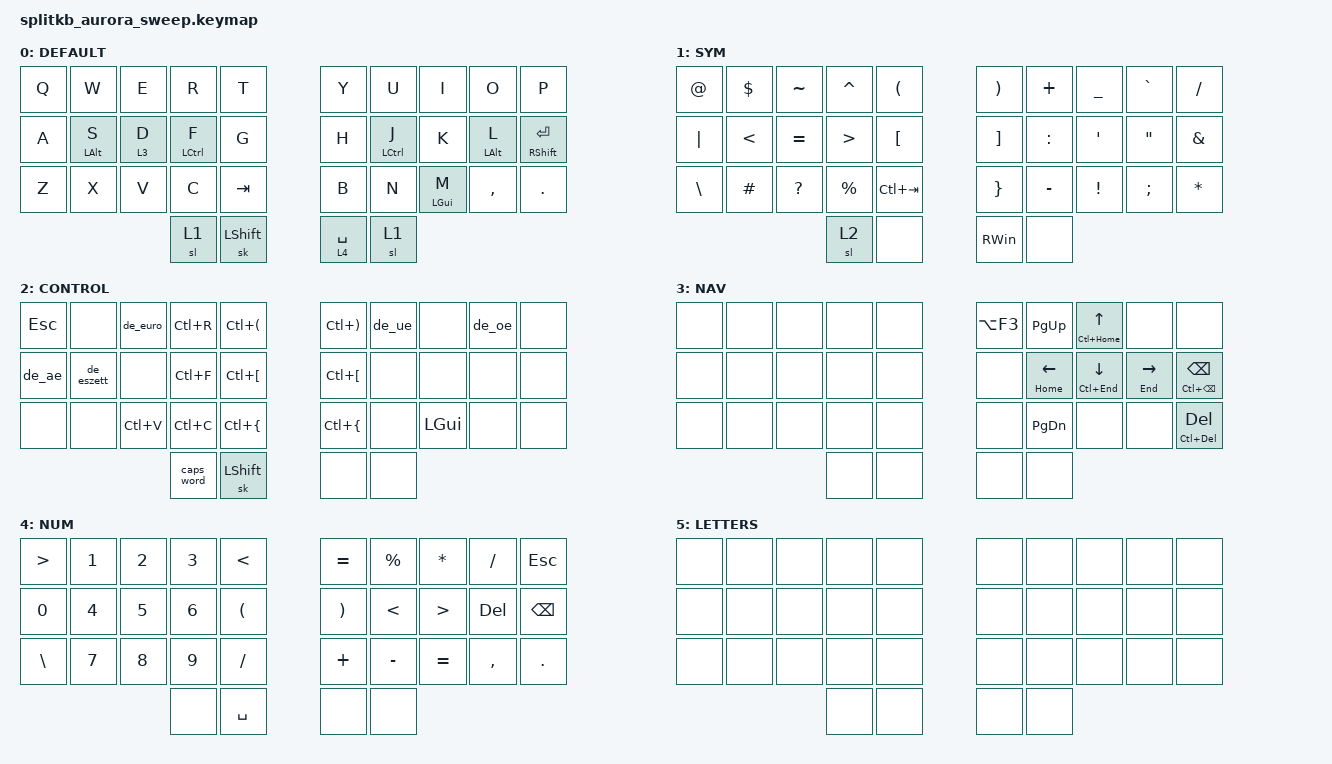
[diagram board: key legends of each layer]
/*
 * Copyright (c) 2022 The ZMK Contributors
 *
 * SPDX-License-Identifier: MIT
 */

#include <behaviors.dtsi>
#include <dt-bindings/zmk/keys.h>

#define HOST_OS 1
#include "helper.h"
#include "german.dtsi"

#define ___ &none

&sk {                           // sticky-key config
    release-after-ms = <450>;   // release after 0.6s
    quick-release;              // no double capitalization when rolling keys
};

&sl {                           // sticky-layer config
    ignore-modifiers;           // allow chording sticky mods & layers
};

&lt {  // layer-tap config
    flavor = "balanced";
    tapping-term-ms = <200>;
    quick-tap-ms = <150>;
};

&mt {
    flavor = "tap-preferred";
    tapping-term-ms = <220>;
    quick-tap-ms = <150>;
};

/*                              34 KEY MATRIX / LAYOUT MAPPING

  ╭────────────────────┬────────────────────╮ ╭─────────────────────┬─────────────────────╮
  │  0   1   2   3   4 │  5   6   7   8   9 │ │ LT4 LT3 LT2 LT1 LT0 │ RT0 RT1 RT2 RT3 RT4 │
  │ 10  11  12  13  14 │ 15  16  17  18  19 │ │ LM4 LM3 LM2 LM1 LM0 │ RM0 RM1 RM2 RM3 RM4 │
  │ 20  21  22  23  24 │ 25  26  27  28  29 │ │ LB4 LB3 LB2 LB1 LB0 │ RB0 RB1 RB2 RB3 RB4 │
  ╰───────────╮ 30  31 │ 32  33 ╭───────────╯ ╰───────────╮ LH1 LH0 │ RH0 RH1 ╭───────────╯
              ╰────────┴────────╯                         ╰─────────┴─────────╯             */

/ {
    combos {
        compatible = "zmk,combos";

        combo_esc {
            timeout-ms = <75>;
            key-positions = <0 1>;
            bindings = <&kp ESC>;
        };

        combo_LBKT {
            timeout-ms = <50>;
            key-positions = <2 3>;
            bindings = <&kp LBKT>;
        };
        combo_LPAR {
            timeout-ms = <50>;
            key-positions = <12 13>;
            bindings = <&kp LPAR>;
        };
        combo_LBRC {
            timeout-ms = <50>;
            key-positions = <22 23>;
            bindings = <&kp LBRC>;
        };
        combo_RBKT {
            timeout-ms = <50>;
            key-positions = <7 6>;
            bindings = <&kp RBKT>;
        };
        combo_RPAR {
            timeout-ms = <50>;
            key-positions = <17 16>;
            bindings = <&kp RPAR>;
        };
        combo_RBRC {
            timeout-ms = <50>;
            key-positions = <27 26>;
            bindings = <&kp RBRC>;
        };

    };

    behaviors {

    tda: tap_dance_a {
            compatible = "zmk,behavior-tap-dance";
            #binding-cells = <0>;
            tapping-term-ms = <50>;
            bindings = <&kp A>, <&de_ae>;
        };


};

#define DEFAULT 0
#define SYM 1
#define CONTROL 2
#define NAV 3
#define NUM 4
#define LETTERS 5

#define NAV_LEFT  &mt HOME LEFT        // tap: left  | long-tap: beginning of line
#define NAV_RIGHT &mt END RIGHT        // tap: right | long-tap: end of line
#define NAV_UP    &mt LC(HOME) UP      // tap: up    | long-tap: beginning of document
#define NAV_DOWN  &mt LC(END)  DOWN    // tap: down  | long-tap: end of document
#define NAV_BSPC  &mt LC(BSPC) BSPC    // tap: bspc  | long-tap: delete word backward
#define NAV_DEL   &mt LC(DEL)  DEL     // tap: del   | long-tap: delete word forward

keymap {
   compatible = "zmk,keymap";

    DEFAULT { bindings = <
        //╭─────────────┬─────────────┬─────────────┬─────────────┬─────────────╮ ╭─────────────┬─────────────┬─────────────┬─────────────┬─────────────╮
            &kp Q         &kp W         &kp E         &kp R         &kp T           &kp Y         &kp U         &kp I         &kp O         &kp P
        //├─────────────┼─────────────┼─────────────┼─────────────┼─────────────┤ ├─────────────┼─────────────┼─────────────┼─────────────┼─────────────┤
            &kp A         &mt LALT S    &lt 3 D       &mt LCTRL F   &kp G           &kp H         &mt LCTRL J   &kp K         &mt LALT L    &mt RSHFT ENTER
        //├─────────────┼─────────────┼─────────────┼─────────────┼─────────────┤ ├─────────────┼─────────────┼─────────────┼─────────────┼─────────────┤
            &kp Z         &kp X         &kp V         &kp C         &kp TAB         &kp B         &kp N         &mt LGUI M    &kp COMMA     &kp DOT
        //╰─────────────┼─────────────┴─────────────┼─────────────┼─────────────┤ ├─────────────┼─────────────┼─────────────┴───────────────────────────╯
                                                      &sl 1         &sk LSHFT       &lt 4 SPACE   &sl 1
        //                                          ╰─────────────┴─────────────╯ ╰─────────────┴─────────────╯
>;};

    SYM { bindings = <
        //╭─────────────┬─────────────┬─────────────┬─────────────┬─────────────╮ ╭─────────────┬─────────────┬─────────────┬─────────────┬─────────────╮
            &kp AT        &kp DOLLAR    &kp TILDE     &kp CARET     &kp LPAR        &kp RPAR      &kp PLUS      &kp UNDER     &kp GRAVE     &kp FSLH
        //├─────────────┼─────────────┼─────────────┼─────────────┼─────────────┤ ├─────────────┼─────────────┼─────────────┼─────────────┼─────────────┤
            &kp PIPE      &kp LT        &kp EQUAL     &kp GT        &kp LBKT        &kp RBKT      &kp COLON     &kp SQT       &kp DQT       &kp AMPERSAND
        //├─────────────┼─────────────┼─────────────┼─────────────┼─────────────┤ ├─────────────┼─────────────┼─────────────┼─────────────┼─────────────┤
            &kp BSLH      &kp POUND     &kp QMARK     &kp PERCENT   &kp LC(TAB)     &kp RBRC      &kp MINUS     &kp EXCL      &kp SEMI      &kp STAR
        //╰─────────────┼─────────────┴─────────────┼─────────────┼─────────────┤ ├─────────────┼─────────────┼─────────────┴───────────────────────────╯
                                                      &sl 2         ___             &kp RWIN           ___
        //                                          ╰─────────────┴─────────────╯ ╰─────────────┴─────────────╯
>;};

    CONTROL { bindings = <
        //╭─────────────┬─────────────┬─────────────┬─────────────┬─────────────╮ ╭─────────────┬─────────────┬─────────────┬─────────────┬─────────────╮
            &kp ESC       &none         &de_euro      &kp LC(R)     &kp LC(LPAR)    &kp LC(RPAR)  &de_ue          ___         &de_oe     ___
        //├─────────────┼─────────────┼─────────────┼─────────────┼─────────────┤ ├─────────────┼─────────────┼─────────────┼─────────────┼─────────────┤
            &de_ae        &de_eszett    &none         &kp LC(F)     &kp LC(LBKT)    &kp LC(LBKT)  ___           ___           ___           ___
        //├─────────────┼─────────────┼─────────────┼─────────────┼─────────────┤ ├─────────────┼─────────────┼─────────────┼─────────────┼─────────────┤
            ___           ___           &kp LC(V)     &kp LC(C)     &kp LC(LBRC)    &kp LC(LBRC)  ___           &kp LGUI      ___           ___
        //╰─────────────┼─────────────┴─────────────┼─────────────┼─────────────┤ ├─────────────┼─────────────┼─────────────┴───────────────────────────╯
                                                      &caps_word    &sk LSHFT       &none         &none
        //                                          ╰─────────────┴─────────────╯ ╰─────────────┴─────────────╯
>;};

    NAV { bindings = <
        //╭─────────────┬─────────────┬─────────────┬─────────────┬─────────────╮ ╭─────────────┬─────────────┬─────────────┬─────────────┬─────────────╮
            ___           ___           ___           ___           ___             &kp LA(F3)    &kp PG_UP     NAV_UP        ___           ___
        //├─────────────┼─────────────┼─────────────┼─────────────┼─────────────┤ ├─────────────┼─────────────┼─────────────┼─────────────┼─────────────┤
            ___           ___           ___           ___           ___             ___           NAV_LEFT      NAV_DOWN      NAV_RIGHT     NAV_BSPC
        //├─────────────┼─────────────┼─────────────┼─────────────┼─────────────┤ ├─────────────┼─────────────┼─────────────┼─────────────┼─────────────┤
            ___           ___           ___           ___           ___             ___           &kp PG_DN     ___           ___           NAV_DEL
        //╰─────────────┼─────────────┴─────────────┼─────────────┼─────────────┤ ├─────────────┼─────────────┼─────────────┴───────────────────────────╯
                                                      ___           ___             ___           ___
        //                                          ╰─────────────┴─────────────╯ ╰─────────────┴─────────────╯
>;};

    NUM { bindings = <
        //╭─────────────┬─────────────┬─────────────┬─────────────┬─────────────╮ ╭─────────────┬─────────────┬─────────────┬─────────────┬─────────────╮
            &kp GT        &kp N1        &kp N2        &kp N3        &kp LT          &kp EQUAL     &kp PERCENT   &kp STAR      &kp FSLH      &kp ESC
        //├─────────────┼─────────────┼─────────────┼─────────────┼─────────────┤ ├─────────────┼─────────────┼─────────────┼─────────────┼─────────────┤
            &kp N0        &kp N4        &kp N5        &kp N6        &kp LPAR        &kp RPAR      &kp LT        &kp GT        &kp DEL       &kp BSPC
        //├─────────────┼─────────────┼─────────────┼─────────────┼─────────────┤ ├─────────────┼─────────────┼─────────────┼─────────────┼─────────────┤
            &kp BSLH      &kp N7        &kp N8        &kp N9        &kp FSLH        &kp  PLUS     &kp MINUS     &kp EQUAL     &kp COMMA     &kp DOT
        //╰─────────────┼─────────────┴─────────────┼─────────────┼─────────────┤ ├─────────────┼─────────────┼─────────────┴───────────────────────────╯
                                                      ___           &kp SPACE       ___           ___
        //                                          ╰─────────────┴─────────────╯ ╰─────────────┴─────────────╯
>;};

    LETTERS { bindings = <
        //╭─────────────┬─────────────┬─────────────┬─────────────┬─────────────╮ ╭─────────────┬─────────────┬─────────────┬─────────────┬─────────────╮
            ___           ___           ___           ___           ___             ___           ___           ___           ___           ___
        //├─────────────┼─────────────┼─────────────┼─────────────┼─────────────┤ ├─────────────┼─────────────┼─────────────┼─────────────┼─────────────┤
            ___           ___           ___           ___           ___             ___           ___           ___           ___           ___
        //├─────────────┼─────────────┼─────────────┼─────────────┼─────────────┤ ├─────────────┼─────────────┼─────────────┼─────────────┼─────────────┤
            ___           ___           ___           ___           ___             ___           ___           ___           ___           ___
        //╰─────────────┼─────────────┴─────────────┼─────────────┼─────────────┤ ├─────────────┼─────────────┼─────────────┴───────────────────────────╯
                                                      ___           ___             ___           ___
        //                                          ╰─────────────┴─────────────╯ ╰─────────────┴─────────────╯
>;};


    };
};
